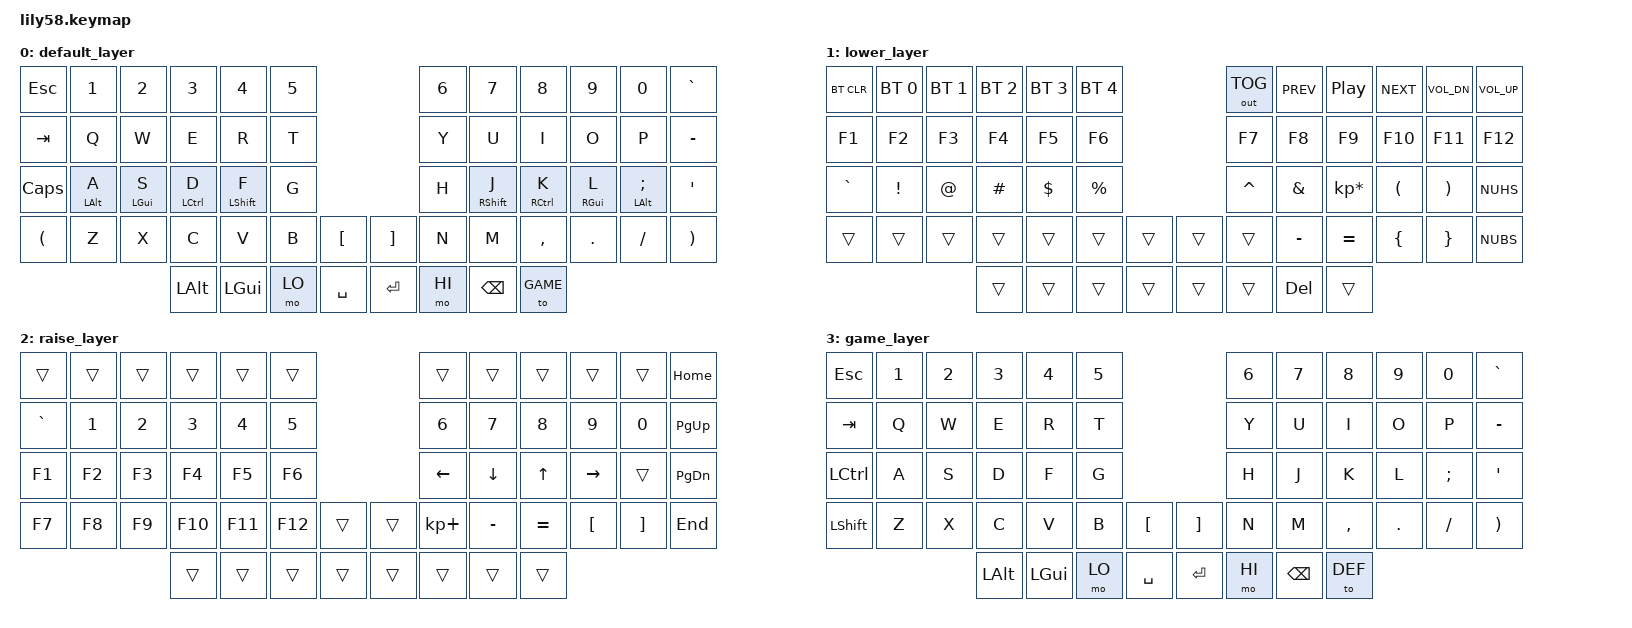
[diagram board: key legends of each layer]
/*
 * Copyright (c) 2020 The ZMK Contributors
 *
 * SPDX-License-Identifier: MIT
 */

#include <behaviors.dtsi>
#include <dt-bindings/zmk/keys.h>
#include <dt-bindings/zmk/bt.h>
#include <dt-bindings/zmk/ext_power.h>
#include <dt-bindings/zmk/outputs.h>

#define DEF  0
#define LO   1
#define HI   2
#define GAME 3

/ {
    behaviors {
        ht: hold_tap {
            compatible = "zmk,behavior-hold-tap";
            label = "HOME_ROW_MODS";
            #binding-cells = <2>;
            bindings = <&kp>, <&kp>;
            flavor = "tap-preferred";
            tapping-term-ms = <200>;
            quick-tap-ms = <200>;
            require-prior-idle-ms = <75>;
        };
    };

    keymap {
        compatible = "zmk,keymap";

        default_layer {
// ------------------------------------------------------------------------------------------------------------
// | ESC   |  1  |  2  |  3   |  4   |  5   |                   |  6   |  7    |  8    |  9   |   0   |   `   |
// | TAB   |  Q  |  W  |  E   |  R   |  T   |                   |  Y   |  U    |  I    |  O   |   P   |   -   |
// | CTRL  |  A  |  S  |  D   |  F   |  G   |                   |  H   |  J    |  K    |  L   |   ;   |   '   |
// | SHIFT |  Z  |  X  |  C   |  V   |  B   |   "["  |  |  "]"  |  N   |  M    |  ,    |  .   |   /   | SHIFT |
//                     | ALT  | GUI  |  LO  |  SPACE |  | ENTER |  HI  | BSPC  | GUI   |
            bindings = <
&kp ESC  &kp N1     &kp N2     &kp N3      &kp N4      &kp N5                    &kp N6 &kp N7      &kp N8      &kp N9     &kp N0        &kp GRAVE
&kp TAB  &kp Q      &kp W      &kp E       &kp R       &kp T                     &kp Y  &kp U       &kp I       &kp O      &kp P         &kp MINUS
&kp CAPS &ht LALT A &ht LGUI S &ht LCTRL D &ht LSHFT F &kp G                     &kp H  &ht RSHFT J &ht RCTRL K &ht RGUI L &ht LALT SEMI &kp SQT
&kp LPAR &kp Z      &kp X      &kp C       &kp V       &kp B  &kp LBKT  &kp RBKT &kp N  &kp M       &kp COMMA   &kp DOT    &kp FSLH      &kp RPAR
                               &kp LALT    &kp LGUI    &mo LO &kp SPACE &kp RET  &mo HI &kp BSPC    &to GAME
            >;
        };

        lower_layer {
// ----------------------------------------------------------------------------------------------------------------
// | BTCLR | BT1 | BT2 |  BT3 |  BT4 |  BT5 |                   | OUT_TOG |  PREV |  PLAY |  NEXT |  VOL- |  VOL+ |
// |  F1   |  F2 |  F3 |  F4  |  F5  |  F6  |                   |   F7    |  F8   |  F9   |  F10  |  F11  |  F12  |
// |   `   |  !  |  "  |  £   |  $   |  %   |                   |   ^     |  &    |  *    |  (    |   )   |   #   |
// |       |     |     |      |      |      |        |  |       |         |  -    |  +    |  {    |   }   |  "\"  |
//                     |      |      |      |        |  |       |         |  DEL  |       |
            bindings = <
&bt BT_CLR &bt BT_SEL 0 &bt BT_SEL 1 &bt BT_SEL 2 &bt BT_SEL 3 &bt BT_SEL 4               &out OUT_TOG &kp C_PREV &kp C_PP        &kp C_NEXT &kp C_VOL_DN &kp C_VOL_UP
&kp F1     &kp F2       &kp F3       &kp F4       &kp F5       &kp F6                     &kp F7       &kp F8     &kp F9          &kp F10    &kp F11      &kp F12
&kp GRAVE  &kp EXCL     &kp AT       &kp HASH     &kp DOLLAR   &kp PRCNT                  &kp CARET    &kp AMPS   &kp KP_MULTIPLY &kp LPAR   &kp RPAR     &kp NUHS
&trans     &trans       &trans       &trans       &trans       &trans       &trans &trans &trans       &kp MINUS  &kp EQUAL       &kp LBRC   &kp RBRC     &kp NUBS
                                     &trans       &trans       &trans       &trans &trans &trans       &kp DEL    &trans
            >;
        };

        raise_layer {
// -------------------------------------------------------------------------------------------------------------
// |       |     |     |      |      |      |                   |      |       |       |      |       |  HOME  |
// |   `   |  1  |  2  |  3   |  4   |  5   |                   |  6   |   7   |   8   |  9   |   0   |  PGUP  |
// |   F1  |  F2 |  F3 |  F4  |  F5  |  F6  |                   |  <   |   v   |   ^   |  >   |       |  PGDN  |
// |   F7  |  F8 |  F9 |  F10 |  F11 |  F12 |        |  |       |  +   |   -   |   =   |  [   |   ]   |  END   |
//                     |      |      |      |        |  |       |      |       |       |
            bindings = <
&trans    &trans &trans &trans  &trans  &trans                &trans      &trans    &trans    &trans    &trans   &kp HOME
&kp GRAVE &kp N1 &kp N2 &kp N3  &kp N4  &kp N5                &kp N6      &kp N7    &kp N8    &kp N9    &kp N0   &kp PG_UP
&kp F1    &kp F2 &kp F3 &kp F4  &kp F5  &kp F6                &kp LEFT    &kp DOWN  &kp UP    &kp RIGHT &trans   &kp PG_DN
&kp F7    &kp F8 &kp F9 &kp F10 &kp F11 &kp F12 &trans &trans &kp KP_PLUS &kp MINUS &kp EQUAL &kp LBKT  &kp RBKT &kp END
                        &trans  &trans  &trans  &trans &trans &trans      &trans    &trans
            >;
        };

        game_layer {
// ------------------------------------------------------------------------------------------------------------
// | ESC   |  1  |  2  |  3   |  4   |  5   |                   |  6   |  7    |  8    |  9   |   0   |   `   |
// | TAB   |  Q  |  W  |  E   |  R   |  T   |                   |  Y   |  U    |  I    |  O   |   P   |   -   |
// | CTRL  |  A  |  S  |  D   |  F   |  G   |                   |  H   |  J    |  K    |  L   |   ;   |   '   |
// | SHIFT |  Z  |  X  |  C   |  V   |  B   |   "["  |  |  "]"  |  N   |  M    |  ,    |  .   |   /   | SHIFT |
//                     | ALT  | GUI  |  LO  |  SPACE |  | ENTER |  HI  | BSPC  | GUI   |
            bindings = <
&kp ESC   &kp N1 &kp N2 &kp N3   &kp N4   &kp N5                    &kp N6 &kp N7   &kp N8    &kp N9  &kp N0   &kp GRAVE
&kp TAB   &kp Q  &kp W  &kp E    &kp R    &kp T                     &kp Y  &kp U    &kp I     &kp O   &kp P    &kp MINUS
&kp LCTRL &kp A  &kp S  &kp D    &kp F    &kp G                     &kp H  &kp J    &kp K     &kp L   &kp SEMI &kp SQT
&kp LSHFT &kp Z  &kp X  &kp C    &kp V    &kp B  &kp LBKT  &kp RBKT &kp N  &kp M    &kp COMMA &kp DOT &kp FSLH &kp RPAR
                        &kp LALT &kp LGUI &mo LO &kp SPACE &kp RET  &mo HI &kp BSPC &to DEF
            >;
        };
    };
};
